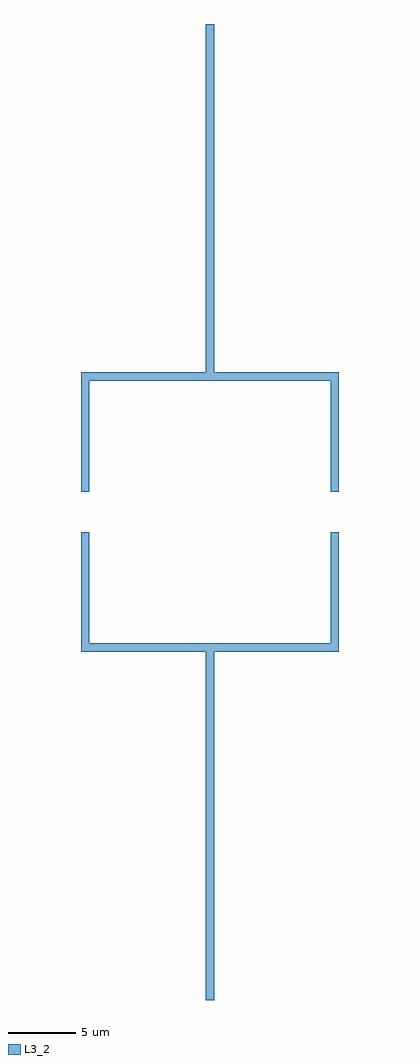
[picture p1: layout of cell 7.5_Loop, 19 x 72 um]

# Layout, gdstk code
import gdstk
lib = gdstk.Library(unit=1e-6, precision=1e-09)
def R(c, l, rs):  # rectangles x0, y0, x1, y1
    for r in rs: c.add(gdstk.rectangle(r[:2], r[2:], *l))
L3_2 = (3, 2)

c_7_5_loop = lib.new_cell('7.5_Loop')
R(c_7_5_loop, L3_2, [(-0.375,-36,0.225,-10.3), (-9.575,-10.3,9.425,-9.7), (-9.575,-9.7,-8.975,-1.5), (8.825,-9.7,9.425,-1.5), (-9.575,1.5,-8.975,9.7), (8.825,1.5,9.425,9.7), (-9.575,9.7,9.425,10.3), (-0.375,10.3,0.225,36)])

lib.write_gds('7.5_Loop.gds')
